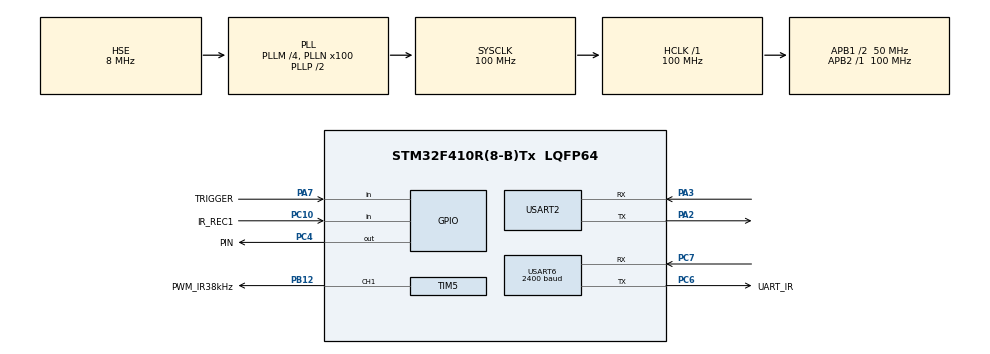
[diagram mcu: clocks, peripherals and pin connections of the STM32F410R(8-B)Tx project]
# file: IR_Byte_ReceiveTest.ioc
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Mcu.Family=STM32F4
Mcu.Name=STM32F410R(8-B)Tx
Mcu.Package=LQFP64
NVIC.PriorityGroup=NVIC_PRIORITYGROUP_4
NVIC.TIM6_DAC_IRQn=true\:0\:0\:false\:false\:true\:true\:true
PA13.Mode=Serial_Wire
PA13.Signal=SYS_JTMS-SWDIO
PA14.Mode=Serial_Wire
PA14.Signal=SYS_JTCK-SWCLK
PA2.Mode=Asynchronous
PA2.Signal=USART2_TX
PA3.Mode=Asynchronous
PA3.Signal=USART2_RX
PA7.GPIO_Label=TRIGGER
PA7.Signal=GPIO_Input
PB12.GPIO_Label=PWM_IR38kHz
PB12.Signal=S_TIM5_CH1
PC10.GPIO_Label=IR_REC1
PC10.Signal=GPIO_Input
PC14-OSC32_IN.Mode=LSE-External-Oscillator
PC14-OSC32_IN.Signal=RCC_OSC32_IN
PC15-OSC32_OUT.Mode=LSE-External-Oscillator
PC15-OSC32_OUT.Signal=RCC_OSC32_OUT
PC4.GPIO_Label=PIN
PC4.Signal=GPIO_Output
PC6.GPIO_Label=UART_IR
PC6.Mode=Asynchronous
PC6.Signal=USART6_TX
PC7.Mode=Asynchronous
PC7.Signal=USART6_RX
PH0\ -\ OSC_IN.Mode=HSE-External-Oscillator
PH0\ -\ OSC_IN.Signal=RCC_OSC_IN
PH1\ -\ OSC_OUT.Mode=HSE-External-Oscillator
PH1\ -\ OSC_OUT.Signal=RCC_OSC_OUT
ProjectManager.HeapSize=0x200
ProjectManager.StackSize=0x400
ProjectManager.TargetToolchain=SW4STM32
RCC.48MHZClocksFreq_Value=50000000
RCC.AHBFreq_Value=100000000
RCC.APB1CLKDivider=RCC_HCLK_DIV2
RCC.APB1Freq_Value=50000000
RCC.APB1TimFreq_Value=100000000
RCC.APB2Freq_Value=100000000
RCC.APB2TimFreq_Value=100000000
RCC.CortexFreq_Value=100000000
RCC.HCLKFreq_Value=100000000
RCC.HSE_VALUE=8000000
RCC.HSI_VALUE=16000000
RCC.PLLM=4
RCC.PLLN=100
RCC.PLLSourceVirtual=RCC_PLLSOURCE_HSE
RCC.SYSCLKFreq_VALUE=100000000
RCC.SYSCLKSource=RCC_SYSCLKSOURCE_PLLCLK
RCC.VCOOutputFreq_Value=200000000
SH.S_TIM5_CH1.0=TIM5_CH1,PWM Generation1 CH1
TIM5.AutoReloadPreload=TIM_AUTORELOAD_PRELOAD_ENABLE
TIM5.Channel-PWM\ Generation1\ CH1=TIM_CHANNEL_1
TIM5.Period=2630
TIM6.Period=2599
USART2.VirtualMode=VM_ASYNC
USART6.BaudRate=2400
USART6.VirtualMode=VM_ASYNC
VP_TIM5_VS_ClockSourceINT.Mode=Internal
VP_TIM6_VS_ClockSourceINT.Mode=Enable_Timer
board=custom

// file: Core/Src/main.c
/* USER CODE BEGIN Header */
/**
  ******************************************************************************
  * @file           : main.c
  * @brief          : Main program body
  ******************************************************************************
  * @attention
  *
  * <h2><center>&copy; Copyright (c) 2021 STMicroelectronics.
  * All rights reserved.</center></h2>
  *
  * This software component is licensed by ST under BSD 3-Clause license,
  * the "License"; You may not use this file except in compliance with the
  * License. You may obtain a copy of the License at:
  *                        opensource.org/licenses/BSD-3-Clause
  *
  ******************************************************************************
  */
/* USER CODE END Header */
#include "main.h"

TIM_HandleTypeDef htim5;
TIM_HandleTypeDef htim6;

UART_HandleTypeDef huart2;
UART_HandleTypeDef huart6;

/* USER CODE BEGIN PV */
#define RXBUFSIZE 100
#define true 1
#define false 0

//volatile uint32_t tim1_cnt = 0; 	//Encoder counter
volatile uint32_t direction; 		//Encoder draairichting
uint8_t State = 0;					//State van het hoofdprogramma
extern uint8_t g_uartHasReceived;
extern char g_uartBuffer[300];
uint8_t RX_data[100];

uint8_t UartIsBusy = 0; 	// true of false; afhankelijk of communicatie al reeds is begonnen
uint8_t Uartcounter = 0;	// Telt de aantal interrupt die al doorlopen zijn
uint8_t UartBit = 0;		// De hoeveelste bit
uint8_t IR_DATA_Byte; 			// De ontvangen byte IR
uint8_t IR_DATA_Received;	//Bool die true wordt als er deftige byte ontvangen is over IR

/* USER CODE END PV */

void SystemClock_Config(void);
static void MX_GPIO_Init(void);
static void MX_TIM6_Init(void);
static void MX_USART2_UART_Init(void);
static void MX_TIM5_Init(void);
static void MX_USART6_UART_Init(void);

/* USER CODE BEGIN 0 */

#include <errno.h>
#include <sys/stat.h>
#include <sys/times.h>
#include <sys/unistd.h>
int _write(int file, char *ptr, int len) {
    HAL_StatusTypeDef xStatus;
    switch (file) {
    case STDOUT_FILENO: /*stdout*/
		xStatus = HAL_UART_Transmit(&huart2, (uint8_t*)ptr, len, HAL_MAX_DELAY);
		if (xStatus != HAL_OK) {
			errno = EIO;
			return -1;
		}
        break;
    case STDERR_FILENO: /* stderr */
		xStatus = HAL_UART_Transmit(&huart2, (uint8_t*)ptr, len, HAL_MAX_DELAY);
		if (xStatus != HAL_OK) {
			errno = EIO;
			return -1;
		}
        break;
    default:
        errno = EBADF;
        return -1;
    }
    return len;
}

/*Het sampelen van de 8 databits en die in een variabele gaan steken*/
void UART_RX_SampleBit(uint8_t bit)
{
	//Sampelen van een logische '1'
	if(HAL_GPIO_ReadPin(IR_REC1_GPIO_Port, IR_REC1_Pin) == 1)
	{
		IR_DATA_Byte = IR_DATA_Byte |= (0x01 << (bit - 1));
	}
	//Sampelen van een logische '0'
	else
	{
		IR_DATA_Byte = IR_DATA_Byte &= ~(0x01 << (bit - 1));
	}
}

/* Interrupt functie van TIM6 die elke 26µs zal doorlopen worden
 * ARR = 2599 ; 16 keer gaan sampelen per bittijd zo makkelijk ook in het midden van de bit kunnen sampelen  */
void HAL_TIM_PeriodElapsedCallback(TIM_HandleTypeDef *htim6)
{
	//printf("interrupt\r\n");
	//HAL_GPIO_TogglePin(PIN_GPIO_Port,PIN_Pin);

	Uartcounter++;

	//Startbit gaan detecteren
	if(HAL_GPIO_ReadPin(IR_REC1_GPIO_Port,IR_REC1_Pin) == 0 && UartIsBusy == false && UartBit == 0 && IR_DATA_Received == false )
	{
		Uartcounter = 0;
		UartIsBusy = true;
	}
	//Midden van de startbit (bit0)
	else if( Uartcounter == 7 && UartIsBusy == true && UartBit == 0)
	{
		Uartcounter = 0;
		//Startbit goed ontvangen!
		if(HAL_GPIO_ReadPin(IR_REC1_GPIO_Port, IR_REC1_Pin) == 0)
		{
			UartBit = 1;
		}
		//Startbit niet goed ontvangen (fout op IR lijn)
		else
		{
			UartIsBusy = false;
			UartBit = 0;
		}
	}
	//DataBits gaan sampelen in het midden van de bittijd
	else if ( UartIsBusy == true && UartBit >= 1 && UartBit <= 8 && Uartcounter == 15)
	{
		Uartcounter = false;
		UART_RX_SampleBit(UartBit);
		UartBit++;
	}
	//StopBit gaan sampelen
	else if( UartIsBusy == true && UartBit == 9 && Uartcounter == 16)
	{
		//Een deftige stopbit ontvangen
		if(HAL_GPIO_ReadPin(IR_REC1_GPIO_Port,IR_REC1_Pin) == 1)
		{
			UartIsBusy = false;
			UartBit = 0;
			IR_DATA_Received = true;
		}
		//Geen deftige stopbit ontvangen
		else
		{
			UartIsBusy = false;
			UartBit = 0;
		}
	}

}

/* USER CODE END 0 */

int main(void)
{

  /* MCU Configuration--------------------------------------------------------*/

  /* Reset of all peripherals, Initializes the Flash interface and the Systick. */
  HAL_Init();

  /* Configure the system clock */
  SystemClock_Config();

  /* Initialize all configured peripherals */
  MX_GPIO_Init();
  MX_TIM6_Init();
  MX_USART2_UART_Init();
  MX_TIM5_Init();
  MX_USART6_UART_Init();
  /* USER CODE BEGIN 2 */
  HAL_TIM_Base_Start_IT(&htim6);		//starten van de interrupt elke 26us

  HAL_TIM_PWM_Start(&htim5,TIM_CHANNEL_1);	//pwm signaal van 38kHz gaan starten
  TIM5->CCR1 = 1316;
  TIM6->ARR = 2700;

  printf(	"**********************************************\r\n"
		  	"  Starten van de Testcode Uart Ontvangen op IR\r\n"
		  	"**********************************************\r\n");
  HAL_TIM_Base_Start_IT(&htim6);		//starten van de interrupt elke 26us

  HAL_TIM_PWM_Start(&htim5,TIM_CHANNEL_1);	//pwm signaal van 38kHz gaan starten
  TIM5->CCR1 = 1316;
  IR_DATA_Received = false;

  	  uint8_t k = 0x64;
  	  uint8_t ShotBusy = false;
  	  uint8_t counter = 1;
  	  uint8_t aantaljuist;
  /* USER CODE END 2 */

  /* Infinite loop */
  while (1)
  {

    /* USER CODE BEGIN 3 */

	  //sprintf(string,"%x",0xFF);
	  if (HAL_GPIO_ReadPin(TRIGGER_GPIO_Port, TRIGGER_Pin) == 0  && ShotBusy == false )
	  {
		  ShotBusy = true;
		  HAL_UART_Transmit(&huart6, &k,1,100); 	//zenden van de info over IR
	  }

	  if(HAL_GPIO_ReadPin(TRIGGER_GPIO_Port,TRIGGER_Pin) == 1)
	  {
		  ShotBusy = false ;
	  }

	  if(IR_DATA_Received == true )
	  {
		  if(IR_DATA_Byte != 0xFF )
		  {
			  //data ontvangen
			 		  printf("\r\n%d : Data Ontvangen! => %x , %c \r\n",counter,IR_DATA_Byte, IR_DATA_Byte);
			 		  if(IR_DATA_Byte == k)
			 		  {
			 			  aantaljuist++;
			 			  k++;
			 		  }
			 		  if(counter == 10)
			 		  {
			 			  //percentage tonen
			 			  printf("*************************\r\n"
			 					 " resultaat = %d/%d !     \r\n"
			 					 "*************************\r\n",aantaljuist,counter);
			 			  aantaljuist =0;
			 			  counter = 0;

			 		  }

			 		  IR_DATA_Received = false;
			 		  counter++;

		  }
		  else
		  {
			  IR_DATA_Received = false;
		  }

	  }
	  else
	  {
		  //printf(".");
	  }

	  HAL_Delay(10);

  }
  /* USER CODE END 3 */
}

void SystemClock_Config(void)
{
  RCC_OscInitTypeDef RCC_OscInitStruct = {0};
  RCC_ClkInitTypeDef RCC_ClkInitStruct = {0};

  /** Configure the main internal regulator output voltage
  */
  __HAL_RCC_PWR_CLK_ENABLE();
  __HAL_PWR_VOLTAGESCALING_CONFIG(PWR_REGULATOR_VOLTAGE_SCALE1);
  /** Initializes the RCC Oscillators according to the specified parameters
  * in the RCC_OscInitTypeDef structure.
  */
  RCC_OscInitStruct.OscillatorType = RCC_OSCILLATORTYPE_HSE;
  RCC_OscInitStruct.HSEState = RCC_HSE_ON;
  RCC_OscInitStruct.PLL.PLLState = RCC_PLL_ON;
  RCC_OscInitStruct.PLL.PLLSource = RCC_PLLSOURCE_HSE;
  RCC_OscInitStruct.PLL.PLLM = 4;
  RCC_OscInitStruct.PLL.PLLN = 100;
  RCC_OscInitStruct.PLL.PLLP = RCC_PLLP_DIV2;
  RCC_OscInitStruct.PLL.PLLQ = 4;
  RCC_OscInitStruct.PLL.PLLR = 2;
  if (HAL_RCC_OscConfig(&RCC_OscInitStruct) != HAL_OK)
  {
    Error_Handler();
  }
  /** Initializes the CPU, AHB and APB buses clocks
  */
  RCC_ClkInitStruct.ClockType = RCC_CLOCKTYPE_HCLK|RCC_CLOCKTYPE_SYSCLK
                              |RCC_CLOCKTYPE_PCLK1|RCC_CLOCKTYPE_PCLK2;
  RCC_ClkInitStruct.SYSCLKSource = RCC_SYSCLKSOURCE_PLLCLK;
  RCC_ClkInitStruct.AHBCLKDivider = RCC_SYSCLK_DIV1;
  RCC_ClkInitStruct.APB1CLKDivider = RCC_HCLK_DIV2;
  RCC_ClkInitStruct.APB2CLKDivider = RCC_HCLK_DIV1;

  if (HAL_RCC_ClockConfig(&RCC_ClkInitStruct, FLASH_LATENCY_3) != HAL_OK)
  {
    Error_Handler();
  }
}

static void MX_TIM5_Init(void)
{

  TIM_ClockConfigTypeDef sClockSourceConfig = {0};
  TIM_MasterConfigTypeDef sMasterConfig = {0};
  TIM_OC_InitTypeDef sConfigOC = {0};

  htim5.Instance = TIM5;
  htim5.Init.Prescaler = 0;
  htim5.Init.CounterMode = TIM_COUNTERMODE_UP;
  htim5.Init.Period = 2630;
  htim5.Init.ClockDivision = TIM_CLOCKDIVISION_DIV1;
  htim5.Init.AutoReloadPreload = TIM_AUTORELOAD_PRELOAD_ENABLE;
  if (HAL_TIM_Base_Init(&htim5) != HAL_OK)
  {
    Error_Handler();
  }
  sClockSourceConfig.ClockSource = TIM_CLOCKSOURCE_INTERNAL;
  if (HAL_TIM_ConfigClockSource(&htim5, &sClockSourceConfig) != HAL_OK)
  {
    Error_Handler();
  }
  if (HAL_TIM_PWM_Init(&htim5) != HAL_OK)
  {
    Error_Handler();
  }
  sMasterConfig.MasterOutputTrigger = TIM_TRGO_RESET;
  sMasterConfig.MasterSlaveMode = TIM_MASTERSLAVEMODE_DISABLE;
  if (HAL_TIMEx_MasterConfigSynchronization(&htim5, &sMasterConfig) != HAL_OK)
  {
    Error_Handler();
  }
  sConfigOC.OCMode = TIM_OCMODE_PWM1;
  sConfigOC.Pulse = 0;
  sConfigOC.OCPolarity = TIM_OCPOLARITY_HIGH;
  sConfigOC.OCFastMode = TIM_OCFAST_DISABLE;
  if (HAL_TIM_PWM_ConfigChannel(&htim5, &sConfigOC, TIM_CHANNEL_1) != HAL_OK)
  {
    Error_Handler();
  }
  HAL_TIM_MspPostInit(&htim5);

}

static void MX_TIM6_Init(void)
{

  TIM_MasterConfigTypeDef sMasterConfig = {0};

  htim6.Instance = TIM6;
  htim6.Init.Prescaler = 0;
  htim6.Init.CounterMode = TIM_COUNTERMODE_UP;
  htim6.Init.Period = 2599;
  htim6.Init.AutoReloadPreload = TIM_AUTORELOAD_PRELOAD_DISABLE;
  if (HAL_TIM_Base_Init(&htim6) != HAL_OK)
  {
    Error_Handler();
  }
  sMasterConfig.MasterOutputTrigger = TIM_TRGO_RESET;
  sMasterConfig.MasterSlaveMode = TIM_MASTERSLAVEMODE_DISABLE;
  if (HAL_TIMEx_MasterConfigSynchronization(&htim6, &sMasterConfig) != HAL_OK)
  {
    Error_Handler();
  }

}

static void MX_USART2_UART_Init(void)
{

  huart2.Instance = USART2;
  huart2.Init.BaudRate = 115200;
  huart2.Init.WordLength = UART_WORDLENGTH_8B;
  huart2.Init.StopBits = UART_STOPBITS_1;
  huart2.Init.Parity = UART_PARITY_NONE;
  huart2.Init.Mode = UART_MODE_TX_RX;
  huart2.Init.HwFlowCtl = UART_HWCONTROL_NONE;
  huart2.Init.OverSampling = UART_OVERSAMPLING_16;
  if (HAL_UART_Init(&huart2) != HAL_OK)
  {
    Error_Handler();
  }

}

static void MX_USART6_UART_Init(void)
{

  huart6.Instance = USART6;
  huart6.Init.BaudRate = 2400;
  huart6.Init.WordLength = UART_WORDLENGTH_8B;
  huart6.Init.StopBits = UART_STOPBITS_1;
  huart6.Init.Parity = UART_PARITY_NONE;
  huart6.Init.Mode = UART_MODE_TX_RX;
  huart6.Init.HwFlowCtl = UART_HWCONTROL_NONE;
  huart6.Init.OverSampling = UART_OVERSAMPLING_16;
  if (HAL_UART_Init(&huart6) != HAL_OK)
  {
    Error_Handler();
  }

}

static void MX_GPIO_Init(void)
{
  GPIO_InitTypeDef GPIO_InitStruct = {0};

  /* GPIO Ports Clock Enable */
  __HAL_RCC_GPIOC_CLK_ENABLE();
  __HAL_RCC_GPIOH_CLK_ENABLE();
  __HAL_RCC_GPIOA_CLK_ENABLE();
  __HAL_RCC_GPIOB_CLK_ENABLE();

  /*Configure GPIO pin Output Level */
  HAL_GPIO_WritePin(PIN_GPIO_Port, PIN_Pin, GPIO_PIN_RESET);

  /*Configure GPIO pin : TRIGGER_Pin */
  GPIO_InitStruct.Pin = TRIGGER_Pin;
  GPIO_InitStruct.Mode = GPIO_MODE_INPUT;
  GPIO_InitStruct.Pull = GPIO_NOPULL;
  HAL_GPIO_Init(TRIGGER_GPIO_Port, &GPIO_InitStruct);

  /*Configure GPIO pin : PIN_Pin */
  GPIO_InitStruct.Pin = PIN_Pin;
  GPIO_InitStruct.Mode = GPIO_MODE_OUTPUT_PP;
  GPIO_InitStruct.Pull = GPIO_NOPULL;
  GPIO_InitStruct.Speed = GPIO_SPEED_FREQ_LOW;
  HAL_GPIO_Init(PIN_GPIO_Port, &GPIO_InitStruct);

  /*Configure GPIO pin : IR_REC1_Pin */
  GPIO_InitStruct.Pin = IR_REC1_Pin;
  GPIO_InitStruct.Mode = GPIO_MODE_INPUT;
  GPIO_InitStruct.Pull = GPIO_NOPULL;
  HAL_GPIO_Init(IR_REC1_GPIO_Port, &GPIO_InitStruct);

}

void Error_Handler(void)
{
}

/************************ (C) COPYRIGHT STMicroelectronics *****END OF FILE****/
